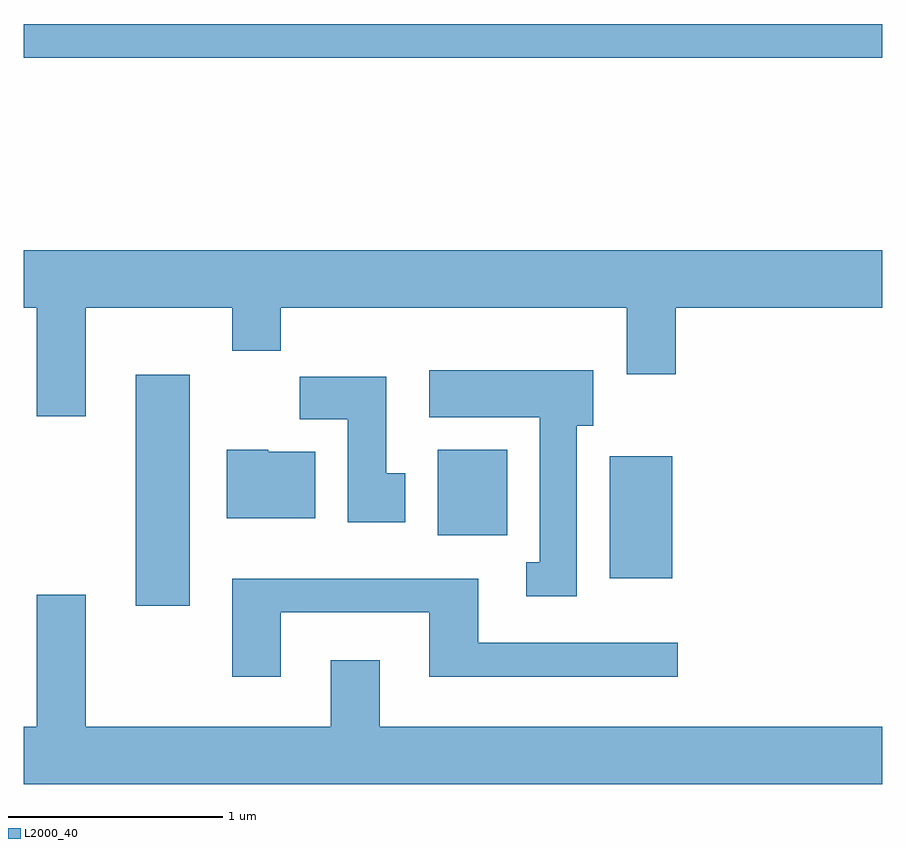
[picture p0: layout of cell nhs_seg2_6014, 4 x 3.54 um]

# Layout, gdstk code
import gdstk
lib = gdstk.Library(unit=1e-6, precision=1e-09)
def R(c, l, rs):  # rectangles x0, y0, x1, y1
    for r in rs: c.add(gdstk.rectangle(r[:2], r[2:], *l))
def P(c, l, *ps):  # polygons
    for p in ps: c.add(gdstk.Polygon(p, *l))
L2000_40 = (2000, 40)

nhs_seg2_6014 = lib.new_cell('nhs_seg2_6014')
R(nhs_seg2_6014, L2000_40, [(362.131,1106.866,362.384,1107.944), (364.341,1106.996,364.634,1107.564), (363.541,1107.196,363.864,1107.594), (361.611,1109.421,365.611,1109.579)])
P(nhs_seg2_6014, L2000_40, [(361.899,1108.256),(362.581,1108.256),(362.581,1108.056),(362.809,1108.056),(362.809,1108.256),(364.421,1108.256),(364.421,1107.946),(364.649,1107.946),(364.649,1108.256),(365.611,1108.256),(365.611,1108.524),(361.611,1108.524),(361.611,1108.256),(361.671,1108.256),(361.671,1107.751),(361.899,1107.751)],
  [(364.189,1107.706),(364.264,1107.706),(364.264,1107.964),(363.501,1107.964),(363.501,1107.746),(364.016,1107.746),(364.016,1107.069),(363.953,1107.069),(363.953,1106.911),(364.189,1106.911)],
  [(363.389,1107.484),(363.299,1107.484),(363.299,1107.934),(362.896,1107.934),(362.896,1107.736),(363.121,1107.736),(363.121,1107.256),(363.389,1107.256)],
  [(362.969,1107.584),(362.75,1107.584),(362.75,1107.594),(362.556,1107.594),(362.556,1107.276),(362.969,1107.276)],
  [(362.809,1106.836),(363.501,1106.836),(363.501,1106.536),(364.658,1106.536),(364.658,1106.694),(363.729,1106.694),(363.729,1106.994),(362.581,1106.994),(362.581,1106.536),(362.809,1106.536)],
  [(365.611,1106.304),(363.269,1106.304),(363.269,1106.614),(363.041,1106.614),(363.041,1106.304),(361.899,1106.304),(361.899,1106.919),(361.671,1106.919),(361.671,1106.304),(361.611,1106.304),(361.611,1106.036),(365.611,1106.036)])

lib.write_gds('nhs_seg2_6014.gds')
